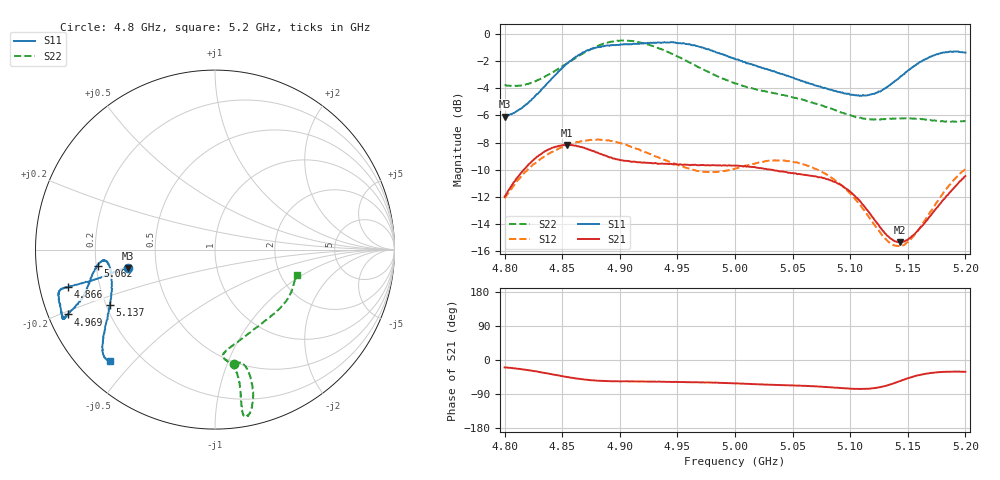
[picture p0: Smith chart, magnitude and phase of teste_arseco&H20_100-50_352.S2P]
! Network Analyzer HP8722D
! Hewlett-Packard
! Data name: Linha & Wilkinson
! Saver's name: Rodrigo Anjos
! Comments: Teste da utilização de aquisição
! continua pelo VNA HP8722D
! Time and date: 6/5/2025 15:30
!  Frequency  S11  S21  S12  S22
# HZ  S  MA R 50
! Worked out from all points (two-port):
!   401 points, 4.8 GHz to 5.2 GHz, reference 50 ohm
!   highest |S21| = -8.16 dB at 4.854 GHz (marker M1); lowest = -15.3 dB at 5.143 GHz (marker M2)
!   |S21| within 3 dB of the highest: 4.806 GHz to 5.093 GHz (286.9 MHz wide, 5.8 % of centre); 5.191811 GHz to end of sweep
!   lowest |S11| = -6.1 dB at 4.8 GHz (marker M3), VSWR 2.97, Z = 17 - j4.6 ohm
!   |S11| at or under -10 dB: nowhere
!   |S22| runs from -6.5 to -0.5 dB; largest |S21 - S12| = 0.62
!   S11 on the Smith chart (normalised r, x): 4.8 GHz: 0.34, -0.09; 4.866 GHz: 0.09, -0.12; 4.969 GHz: 0.06, -0.21; 5.062 GHz: 0.21, -0.06; 5.137 GHz: 0.22, -0.24; 5.2 GHz: 0.09, -0.43
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4.8e9  0.4967 -168.1  0.2519 -19.6  0.2483 -140.8  0.6481 -80.4
4.828e9  0.5999 -167.0  0.3533 -30.5  0.3388 -144.8  0.674 -75.4
4.854e9  0.7762 -165.7  0.3907 -44.9  0.3893 -149.7  0.7786 -74.6
4.866e9  0.8426 -165.7  0.3837 -50.1  0.4023 -151.8  0.8379 -75.2
4.867e9  0.8491 -165.6  0.3835 -50.7  0.4031 -151.9  0.8426 -75.4
4.88e9  0.8899 -165.5  0.3661 -54.5  0.4086 -154.0  0.8996 -76.8
4.9e9  0.9115 -162.6  0.3437 -56.2  0.3969 -156.5  0.943 -79.1
4.934e9  0.9284 -156.4  0.3329 -57.4  0.3511 -155.6  0.8839 -80.4
4.969e9  0.8955 -156.2  0.3287 -58.9  0.3128 -147.2  0.752 -79.7
5e9  0.8091 -159.0  0.3275 -61.7  0.3198 -137.2  0.6574 -81.2
5.036e9  0.7216 -165.5  0.3143 -65.9  0.3421 -134.3  0.6022 -85.6
5.062e9  0.6601 -172.2  0.3024 -68.4  0.329 -136.2  0.5666 -83.8
5.067e9  0.6535 -172.9  0.3004 -69.0  0.3235 -136.6  0.559 -82.6
5.086e9  0.6169 -174.4  0.2858 -72.7  0.2915 -138.3  0.526 -75.3
5.102e9  0.5973 -171.6  0.258 -75.9  0.2539 -138.6  0.4987 -66.0
5.116e9  0.5948 -165.4  0.2216 -75.8  0.2129 -135.6  0.485 -55.9
5.134e9  0.6462 -154.2  0.1785 -65.3  0.171 -120.8  0.4871 -43.3
5.137e9  0.6608 -152.3  0.1746 -62.5  0.1676 -117.0  0.4884 -41.5
5.143e9  0.6917 -149.2  0.1711 -55.9  0.1657 -109.0  0.4892 -38.0
5.154e9  0.7534 -144.3  0.181 -44.5  0.1789 -95.1  0.4881 -32.2
5.173e9  0.8339 -138.7  0.2236 -33.2  0.2326 -80.7  0.4806 -24.3
5.2e9  0.8536 -133.5  0.3 -31.2  0.3189 -76.8  0.4775 -17.5
